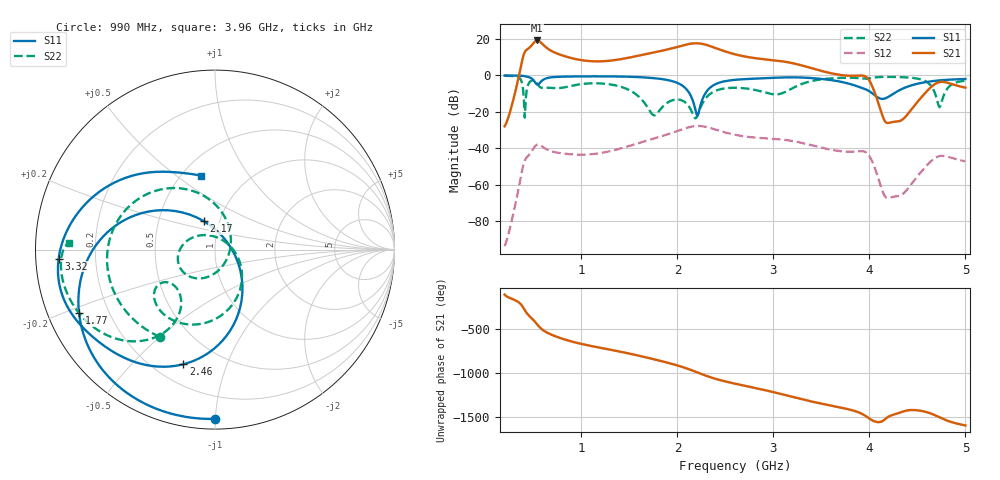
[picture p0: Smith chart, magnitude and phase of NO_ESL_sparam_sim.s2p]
! Created Wed Feb 11 23:27:21 2026
# hz S db R 50
! 2 Port Network Data from SP1.SP block
! freq  dbS11  angS11  dbS21  angS21  dbS12  angS12  dbS22  angS22
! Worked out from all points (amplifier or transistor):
!   481 points, 200 MHz to 5 GHz, reference 50 ohm
!   highest |S21| = 19.2 dB at 540 MHz (marker M1)
!   |S21| within 3 dB of that: 2.036 GHz to 2.335 GHz (299.1 MHz wide, 13.7 % of centre)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
!   unconditionally stable (mu >= 1): start of sweep to end of sweep
!   at 1 GHz: K = 2.38, MAG = 19.3 dB, |S12| = -43.4 dB
!   at 2.6 GHz: K = 1.89, MAG = 16.6 dB, |S12| = -32.5 dB
!   at 5 GHz: K = 41.94, MAG = 1.0 dB, |S12| = -47.1 dB
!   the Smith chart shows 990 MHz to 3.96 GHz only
!   S11 on the Smith chart (normalised r, x): 990 MHz: 0.06, -1.00; 1.77 GHz: 0.09, -0.22; 2.17 GHz: 0.84, +0.28; 2.46 GHz: 0.31, -0.71; 3.32 GHz: 0.07, -0.03; 3.96 GHz: 0.62, +0.62
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2e8  -0.05 -23.9  -27.88 -103.2  -93.59 167.8  -0.14 144.3
3.8e8  -0.17 -48.3  7.51 131.5  -52.64 43.4  -3.87 55.7
4.2e8  -0.51 -55.2  13.63 60.9  -45.65 -27.0  -13.00 -167.5
4.9e8  -2.00 -68.3  17.04 -23.3  -40.91 -110.8  -2.69 109.5
5.4e8  -4.97 -60.2  19.20 -86.0  -37.91 -173.3  -4.55 75.9
6.1e8  -2.09 -49.2  16.43 -157.9  -39.63 115.2  -6.81 62.8
7.4e8  -0.78 -66.4  12.16 135.2  -42.24 48.9  -6.95 -4.0
9.9e8  -0.51 -89.9  8.49 54.6  -43.42 -30.4  -4.80 -122.3
1e9  -0.51 -90.8  8.40 52.1  -43.42 -32.9  -4.73 -125.4
1.43e9  -0.61 -125.1  9.12 -42.2  -39.71 -125.0  -6.52 136.8
1.77e9  -1.56 -155.0  12.76 -127.4  -34.32 151.7  -21.68 -32.0
1.8e9  -1.73 -158.2  13.10 -135.5  -33.85 143.7  -20.10 -63.4
2.02e9  -4.57 168.9  15.96 159.5  -30.07 80.0  -13.28 -161.7
2.17e9  -15.32 111.8  17.61 102.2  -27.86 23.5  -22.29 99.8
2.31e9  -8.38 -70.1  16.62 43.5  -28.37 -34.5  -11.58 -58.1
2.46e9  -3.57 -105.5  13.84 -6.1  -30.68 -83.2  -7.40 -102.9
2.6e9  -2.40 -123.1  11.60 -42.5  -32.51 -118.8  -6.74 -126.6
3.32e9  -1.18 -176.7  5.16 133.2  -37.27 61.5  -4.22 -125.9
3.4e9  -1.44 176.4  3.97 112.9  -38.32 41.8  -3.04 -133.7
3.96e9  -7.58 100.5  -0.59 -51.9  -41.99 -119.0  -1.80 177.3
4.2e9  -11.66 -29.6  -26.02 -58.6  -67.13 -123.8  -0.78 157.9
5e9  -1.95 -152.3  -6.67 -160.3  -47.06 141.7  -2.88 113.5
